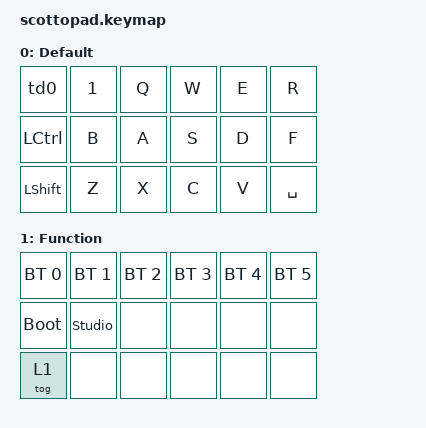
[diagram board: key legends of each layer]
#include <behaviors.dtsi>
#include <dt-bindings/zmk/keys.h>
#include <dt-bindings/zmk/bt.h>

/ {
    behaviors {
        td0: tap_dance_0 {
            compatible = "zmk,behavior-tap-dance";
            #binding-cells = <0>;
            tapping-term-ms = <135>;
            bindings = <&kp M>, <&tog 1>;
        };
    };

    keymap {
        compatible = "zmk,keymap";

        default_layer {
            display-name = "Default";

            bindings = <
                &td0       &kp N1 &kp Q &kp W &kp E &kp R
                &kp LCTRL  &kp B  &kp A &kp S &kp D &kp F
                &kp LSHIFT &kp Z  &kp X &kp C &kp V &kp SPACE
            >;
        };

        function_layer {
            display-name = "Function";

            bindings =<
                &bt BT_SEL 0 &bt BT_SEL 1   &bt BT_SEL 2 &bt BT_SEL 3 &bt BT_SEL 4 &bt BT_SEL 5
                &bootloader  &studio_unlock &none        &none        &none        &none
                &tog 1       &none          &none        &none        &none        &none
            >;
        };
    };
};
